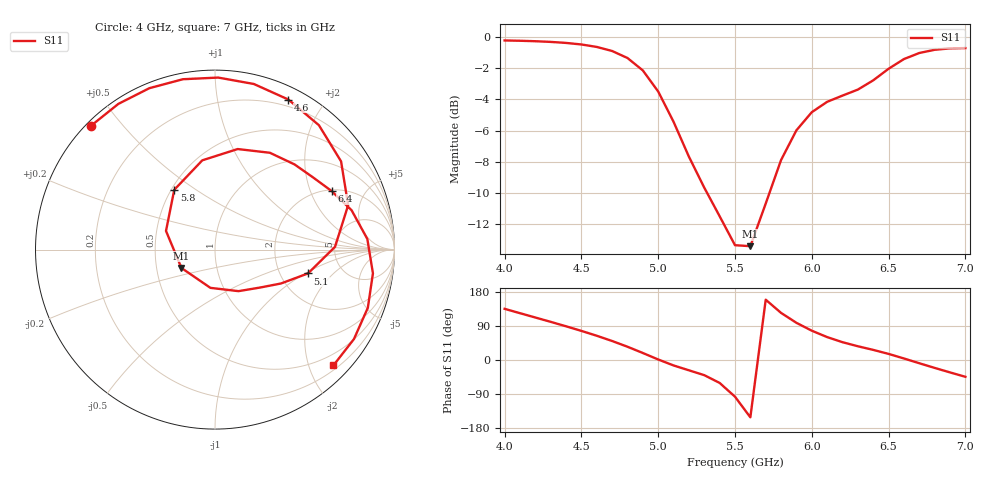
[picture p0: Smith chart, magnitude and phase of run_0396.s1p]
! Touchstone file exported from HFSS 2024.2.0
!  File:  C:/Users/wsak9/Desktop/Sim Fast/Widenad Patch/WP_AI_V1_sweep.aedt
!  Generated:  08:00:48 AM Oct 14, 2026
!  Design:  A1_model
!  Project:  WP_AI_V1_sweep
!  Setup:  Setup1
!  Solution:  Sweep
! Variables:
!  Air_gap = 3.17mm
!  Curve_Amp1 = 2.28
!  Curve_len1 = 1
!  Curve_pos = 10.19mm
!  Extra = 3.95mm
!  H_sub = 0.79mm
!  L_Patch = 16.38mm
!  L_Patch1 = 15.18mm
!  Sx = 1.68mm
!  Sy = 3.58mm
!  WS = 0.36mm
!  W_Patch = 18.79mm
!  W_Patch1 = 11.23mm
!Data is not renormalized
# GHz S MA
! Terminal data exported
! Port[1] = 1
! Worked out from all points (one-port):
!   31 points, 4 GHz to 7 GHz, reference per port
!   lowest |S11| = -13.4 dB at 5.6 GHz (marker M1), VSWR 1.54
!   |S11| at or under -10 dB: 5.318 GHz to 5.725 GHz (406.6 MHz wide, 7.36 % of centre)
!   S11 on the Smith chart (normalised r, x): 4 GHz: 0.01, +0.41; 4.6 GHz: 0.13, +1.59; 5.1 GHz: 2.86, -1.06; 5.8 GHz: 0.52, +0.41; 6.4 GHz: 2.06, +2.85; 7 GHz: 0.28, -2.43
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4  0.9763 135.0
4.2  0.9708 112.1
4.3  0.9659 100.7
4.4  0.9587 89.0
4.5  0.9477 76.8
4.6  0.9307 64.0
4.7  0.9031 50.1
4.8  0.8574 35.0
4.9  0.7821 18.5
5  0.6692 1.4
5.1  0.5349 -14.4
5.2  0.4132 -27.2
5.4  0.2659 -60.5
5.5  0.2147 -96.8
5.6  0.2131 -151.3
5.7  0.2921 159.2
5.8  0.4032 124.3
5.9  0.5024 98.1
6  0.5743 77.3
6.1  0.6201 60.5
6.3  0.6788 36.2
6.4  0.727 26.7
6.5  0.7919 16.1
6.6  0.8508 4.0
6.7  0.8899 -8.6
6.8  0.9112 -20.9
6.9  0.9207 -32.8
7  0.9228 -44.4
